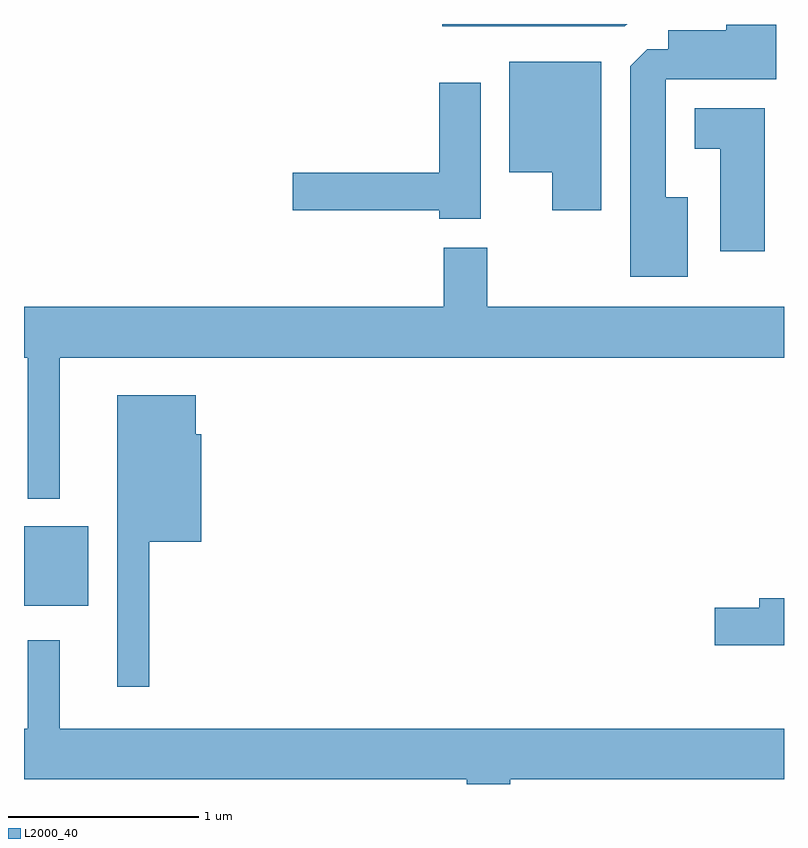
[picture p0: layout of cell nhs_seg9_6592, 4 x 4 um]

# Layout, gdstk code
import gdstk
lib = gdstk.Library(unit=1e-6, precision=1e-09)
def R(c, l, rs):  # rectangles x0, y0, x1, y1
    for r in rs: c.add(gdstk.rectangle(r[:2], r[2:], *l))
def P(c, l, *ps):  # polygons
    for p in ps: c.add(gdstk.Polygon(p, *l))
L2000_40 = (2000, 40)

nhs_seg9_6592 = lib.new_cell('nhs_seg9_6592')
R(nhs_seg9_6592, L2000_40, [(379.611,2019.371,379.949,2019.789)])
P(nhs_seg9_6592, L2000_40, [(382.785,2022.432),(381.813,2022.432),(381.813,2022.421),(382.774,2022.421)],
  [(383.104,2021.519),(382.989,2021.519),(382.989,2022.141),(383.569,2022.141),(383.569,2022.429),(383.306,2022.429),(383.306,2022.399),(383.001,2022.399),(383.001,2022.299),(382.892,2022.299),(382.801,2022.209),(382.801,2021.101),(383.104,2021.101)],
  [(382.649,2022.234),(382.166,2022.234),(382.166,2021.651),(382.391,2021.651),(382.391,2021.451),(382.649,2021.451)],
  [(382.014,2022.124),(381.796,2022.124),(381.796,2021.649),(381.026,2021.649),(381.026,2021.451),(381.796,2021.451),(381.796,2021.406),(382.014,2021.406)],
  [(383.509,2021.989),(383.141,2021.989),(383.141,2021.776),(383.276,2021.776),(383.276,2021.236),(383.509,2021.236)],
  [(379.799,2020.676),(383.611,2020.676),(383.611,2020.944),(382.049,2020.944),(382.049,2021.254),(381.821,2021.254),(381.821,2020.944),(379.611,2020.944),(379.611,2020.676),(379.631,2020.676),(379.631,2019.933),(379.799,2019.933)],
  [(380.269,2019.706),(380.544,2019.706),(380.544,2020.274),(380.514,2020.274),(380.514,2020.479),(380.101,2020.479),(380.101,2018.943),(380.269,2018.943)],
  [(383.611,2019.409),(383.481,2019.409),(383.481,2019.359),(383.246,2019.359),(383.246,2019.161),(383.611,2019.161)],
  [(382.169,2018.456),(383.611,2018.456),(383.611,2018.724),(379.799,2018.724),(379.799,2019.188),(379.631,2019.188),(379.631,2018.724),(379.611,2018.724),(379.611,2018.456),(381.941,2018.456),(381.941,2018.432),(382.169,2018.432)])

lib.write_gds('nhs_seg9_6592.gds')
